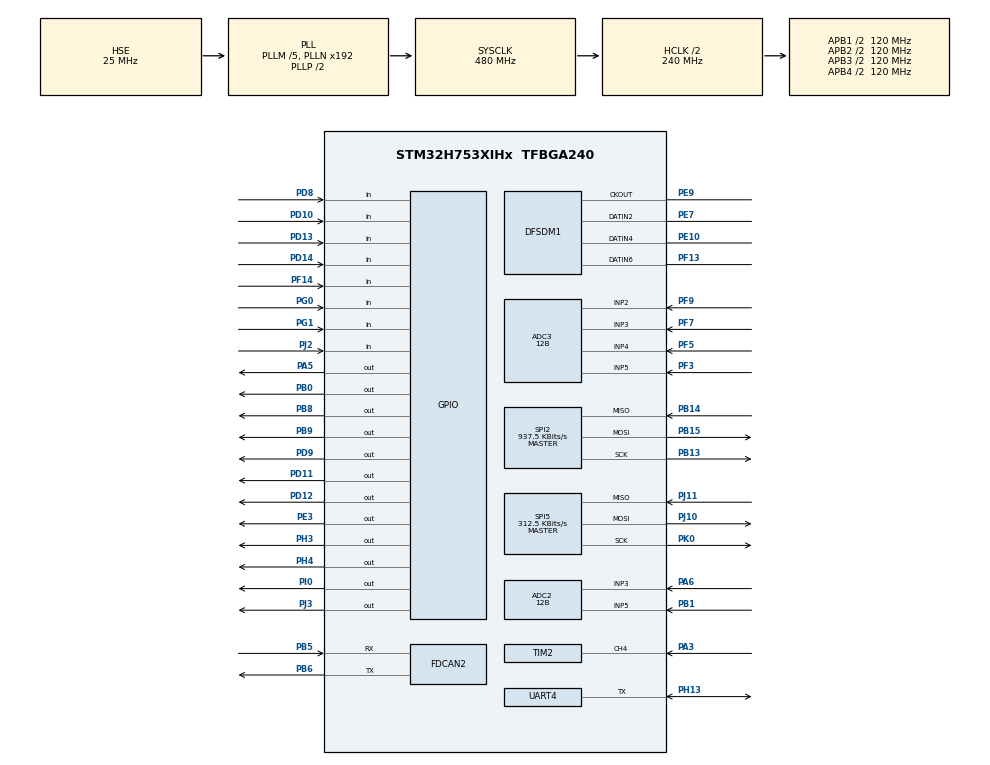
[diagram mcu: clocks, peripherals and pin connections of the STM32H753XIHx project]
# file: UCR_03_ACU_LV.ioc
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ADC2.Channel-0\#ChannelRegularConversion=ADC_CHANNEL_5
ADC2.Channel-1\#ChannelRegularConversion=ADC_CHANNEL_3
ADC2.ClockPrescaler=ADC_CLOCK_ASYNC_DIV256
ADC2.ContinuousConvMode=ENABLE
ADC2.ConversionDataManagement=ADC_CONVERSIONDATA_DMA_CIRCULAR
ADC2.NbrOfConversion=2
ADC2.NbrOfConversionFlag=1
ADC2.OffsetNumber-0\#ChannelRegularConversion=ADC_OFFSET_NONE
ADC2.OffsetNumber-1\#ChannelRegularConversion=ADC_OFFSET_NONE
ADC2.OffsetSignedSaturation-0\#ChannelRegularConversion=DISABLE
ADC2.OffsetSignedSaturation-1\#ChannelRegularConversion=DISABLE
ADC2.Overrun=ADC_OVR_DATA_OVERWRITTEN
ADC2.Rank-0\#ChannelRegularConversion=1
ADC2.Rank-1\#ChannelRegularConversion=2
ADC2.Resolution=ADC_RESOLUTION_12B
ADC2.SamplingTime-0\#ChannelRegularConversion=ADC_SAMPLETIME_16CYCLES_5
ADC2.SamplingTime-1\#ChannelRegularConversion=ADC_SAMPLETIME_16CYCLES_5
ADC3.Channel-0\#ChannelRegularConversion=ADC_CHANNEL_3
ADC3.Channel-1\#ChannelRegularConversion=ADC_CHANNEL_5
ADC3.Channel-2\#ChannelRegularConversion=ADC_CHANNEL_2
ADC3.Channel-3\#ChannelRegularConversion=ADC_CHANNEL_4
ADC3.ClockPrescaler=ADC_CLOCK_ASYNC_DIV256
ADC3.ContinuousConvMode=ENABLE
ADC3.ConversionDataManagement=ADC_CONVERSIONDATA_DMA_CIRCULAR
ADC3.NbrOfConversion=4
ADC3.NbrOfConversionFlag=1
ADC3.OffsetNumber-0\#ChannelRegularConversion=ADC_OFFSET_NONE
ADC3.OffsetNumber-1\#ChannelRegularConversion=ADC_OFFSET_NONE
ADC3.OffsetNumber-2\#ChannelRegularConversion=ADC_OFFSET_NONE
ADC3.OffsetNumber-3\#ChannelRegularConversion=ADC_OFFSET_NONE
ADC3.OffsetSignedSaturation-0\#ChannelRegularConversion=DISABLE
ADC3.OffsetSignedSaturation-1\#ChannelRegularConversion=DISABLE
ADC3.OffsetSignedSaturation-2\#ChannelRegularConversion=DISABLE
ADC3.OffsetSignedSaturation-3\#ChannelRegularConversion=DISABLE
ADC3.Overrun=ADC_OVR_DATA_OVERWRITTEN
ADC3.Rank-0\#ChannelRegularConversion=1
ADC3.Rank-1\#ChannelRegularConversion=2
ADC3.Rank-2\#ChannelRegularConversion=3
ADC3.Rank-3\#ChannelRegularConversion=4
ADC3.Resolution=ADC_RESOLUTION_12B
ADC3.SamplingTime-0\#ChannelRegularConversion=ADC_SAMPLETIME_810CYCLES_5
ADC3.SamplingTime-1\#ChannelRegularConversion=ADC_SAMPLETIME_810CYCLES_5
ADC3.SamplingTime-2\#ChannelRegularConversion=ADC_SAMPLETIME_810CYCLES_5
ADC3.SamplingTime-3\#ChannelRegularConversion=ADC_SAMPLETIME_810CYCLES_5
Bdma.ADC3.0.Direction=DMA_PERIPH_TO_MEMORY
Bdma.ADC3.0.EventEnable=DISABLE
Bdma.ADC3.0.Instance=BDMA_Channel0
Bdma.ADC3.0.MemDataAlignment=DMA_MDATAALIGN_HALFWORD
Bdma.ADC3.0.MemInc=DMA_MINC_ENABLE
Bdma.ADC3.0.Mode=DMA_CIRCULAR
Bdma.ADC3.0.PeriphDataAlignment=DMA_PDATAALIGN_HALFWORD
Bdma.ADC3.0.PeriphInc=DMA_PINC_DISABLE
Bdma.ADC3.0.Polarity=HAL_DMAMUX_REQ_GEN_RISING
Bdma.ADC3.0.Priority=DMA_PRIORITY_LOW
Bdma.ADC3.0.RequestNumber=1
Bdma.ADC3.0.SignalID=NONE
Bdma.ADC3.0.SyncEnable=DISABLE
Bdma.ADC3.0.SyncPolarity=HAL_DMAMUX_SYNC_NO_EVENT
Bdma.ADC3.0.SyncRequestNumber=1
Bdma.ADC3.0.SyncSignalID=NONE
Bdma.Request0=ADC3
Bdma.RequestsNb=1
CORTEX_M7.default_mode_Activation=1
DFSDM1.Divider=30
DFSDM1.DmaMode_reg_FIL0=ENABLE
DFSDM1.DmaMode_reg_FIL1=ENABLE
DFSDM1.DmaMode_reg_FIL2=ENABLE
DFSDM1.Filter_regChannel_FIL0=DFSDM_CHANNEL_2
DFSDM1.Filter_regChannel_FIL1=DFSDM_CHANNEL_4
DFSDM1.Filter_regChannel_FIL2=DFSDM_CHANNEL_6
DFSDM1.Fosr_FIL0=1024
DFSDM1.Fosr_FIL1=1024
DFSDM1.Fosr_FIL2=1024
DFSDM1.Selection=DFSDM_CHANNEL_OUTPUT_CLOCK_SYSTEM
Dma.ADC2.3.Direction=DMA_PERIPH_TO_MEMORY
Dma.ADC2.3.EventEnable=DISABLE
Dma.ADC2.3.FIFOMode=DMA_FIFOMODE_DISABLE
Dma.ADC2.3.Instance=DMA1_Stream3
Dma.ADC2.3.MemDataAlignment=DMA_MDATAALIGN_HALFWORD
Dma.ADC2.3.MemInc=DMA_MINC_ENABLE
Dma.ADC2.3.Mode=DMA_CIRCULAR
Dma.ADC2.3.PeriphDataAlignment=DMA_PDATAALIGN_HALFWORD
Dma.ADC2.3.PeriphInc=DMA_PINC_DISABLE
Dma.ADC2.3.Polarity=HAL_DMAMUX_REQ_GEN_RISING
Dma.ADC2.3.Priority=DMA_PRIORITY_LOW
Dma.ADC2.3.RequestNumber=1
Dma.ADC2.3.SignalID=NONE
Dma.ADC2.3.SyncEnable=DISABLE
Dma.ADC2.3.SyncPolarity=HAL_DMAMUX_SYNC_NO_EVENT
Dma.ADC2.3.SyncRequestNumber=1
Dma.ADC2.3.SyncSignalID=NONE
Dma.DFSDM1_FLT0.0.Direction=DMA_PERIPH_TO_MEMORY
Dma.DFSDM1_FLT0.0.EventEnable=DISABLE
Dma.DFSDM1_FLT0.0.FIFOMode=DMA_FIFOMODE_DISABLE
Dma.DFSDM1_FLT0.0.Instance=DMA1_Stream0
Dma.DFSDM1_FLT0.0.MemDataAlignment=DMA_MDATAALIGN_WORD
Dma.DFSDM1_FLT0.0.MemInc=DMA_MINC_ENABLE
Dma.DFSDM1_FLT0.0.Mode=DMA_CIRCULAR
Dma.DFSDM1_FLT0.0.PeriphDataAlignment=DMA_PDATAALIGN_WORD
Dma.DFSDM1_FLT0.0.PeriphInc=DMA_PINC_DISABLE
Dma.DFSDM1_FLT0.0.Polarity=HAL_DMAMUX_REQ_GEN_RISING
Dma.DFSDM1_FLT0.0.Priority=DMA_PRIORITY_LOW
Dma.DFSDM1_FLT0.0.RequestNumber=1
Dma.DFSDM1_FLT0.0.SignalID=NONE
Dma.DFSDM1_FLT0.0.SyncEnable=DISABLE
Dma.DFSDM1_FLT0.0.SyncPolarity=HAL_DMAMUX_SYNC_NO_EVENT
Dma.DFSDM1_FLT0.0.SyncRequestNumber=1
Dma.DFSDM1_FLT0.0.SyncSignalID=NONE
Dma.DFSDM1_FLT1.1.Direction=DMA_PERIPH_TO_MEMORY
Dma.DFSDM1_FLT1.1.EventEnable=DISABLE
Dma.DFSDM1_FLT1.1.FIFOMode=DMA_FIFOMODE_DISABLE
Dma.DFSDM1_FLT1.1.Instance=DMA1_Stream1
Dma.DFSDM1_FLT1.1.MemDataAlignment=DMA_MDATAALIGN_WORD
Dma.DFSDM1_FLT1.1.MemInc=DMA_MINC_ENABLE
Dma.DFSDM1_FLT1.1.Mode=DMA_CIRCULAR
Dma.DFSDM1_FLT1.1.PeriphDataAlignment=DMA_PDATAALIGN_WORD
Dma.DFSDM1_FLT1.1.PeriphInc=DMA_PINC_DISABLE
Dma.DFSDM1_FLT1.1.Polarity=HAL_DMAMUX_REQ_GEN_RISING
Dma.DFSDM1_FLT1.1.Priority=DMA_PRIORITY_LOW
Dma.DFSDM1_FLT1.1.RequestNumber=1
Dma.DFSDM1_FLT1.1.SignalID=NONE
Dma.DFSDM1_FLT1.1.SyncEnable=DISABLE
Dma.DFSDM1_FLT1.1.SyncPolarity=HAL_DMAMUX_SYNC_NO_EVENT
Dma.DFSDM1_FLT1.1.SyncRequestNumber=1
Dma.DFSDM1_FLT1.1.SyncSignalID=NONE
Dma.DFSDM1_FLT2.2.Direction=DMA_PERIPH_TO_MEMORY
Dma.DFSDM1_FLT2.2.EventEnable=DISABLE
Dma.DFSDM1_FLT2.2.FIFOMode=DMA_FIFOMODE_DISABLE
Dma.DFSDM1_FLT2.2.Instance=DMA1_Stream2
Dma.DFSDM1_FLT2.2.MemDataAlignment=DMA_MDATAALIGN_WORD
Dma.DFSDM1_FLT2.2.MemInc=DMA_MINC_ENABLE
Dma.DFSDM1_FLT2.2.Mode=DMA_CIRCULAR
Dma.DFSDM1_FLT2.2.PeriphDataAlignment=DMA_PDATAALIGN_WORD
Dma.DFSDM1_FLT2.2.PeriphInc=DMA_PINC_DISABLE
Dma.DFSDM1_FLT2.2.Polarity=HAL_DMAMUX_REQ_GEN_RISING
Dma.DFSDM1_FLT2.2.Priority=DMA_PRIORITY_LOW
Dma.DFSDM1_FLT2.2.RequestNumber=1
Dma.DFSDM1_FLT2.2.SignalID=NONE
Dma.DFSDM1_FLT2.2.SyncEnable=DISABLE
Dma.DFSDM1_FLT2.2.SyncPolarity=HAL_DMAMUX_SYNC_NO_EVENT
Dma.DFSDM1_FLT2.2.SyncRequestNumber=1
Dma.DFSDM1_FLT2.2.SyncSignalID=NONE
Dma.Request0=DFSDM1_FLT0
Dma.Request1=DFSDM1_FLT1
Dma.Request2=DFSDM1_FLT2
Dma.Request3=ADC2
FDCAN2.CalculateBaudRateNominal=499999
FDCAN2.CalculateTimeBitNominal=2000
FDCAN2.CalculateTimeQuantumNominal=250.00000000000003
FDCAN2.DataPrescaler=15
FDCAN2.DataSyncJumpWidth=1
FDCAN2.DataTimeSeg1=2
FDCAN2.DataTimeSeg2=1
FDCAN2.FrameFormat=FDCAN_FRAME_FD_BRS
FDCAN2.MessageRAMOffset=0
FDCAN2.Mode=FDCAN_MODE_NORMAL
FDCAN2.NominalPrescaler=30
FDCAN2.NominalSyncJumpWidth=2
FDCAN2.NominalTimeSeg1=5
FDCAN2.NominalTimeSeg2=2
FDCAN2.RxBufferSize=FDCAN_DATA_BYTES_64
FDCAN2.RxFifo0ElmtSize=FDCAN_DATA_BYTES_64
FDCAN2.RxFifo0ElmtsNbr=16
FDCAN2.RxFifo1ElmtSize=FDCAN_DATA_BYTES_64
FDCAN2.RxFifo1ElmtsNbr=16
FDCAN2.StdFiltersNbr=1
FDCAN2.TxElmtSize=FDCAN_DATA_BYTES_64
FDCAN2.TxFifoQueueElmtsNbr=16
FREERTOS.Tasks01=TaskManager,24,512,startTaskManager,Default,NULL,Dynamic,NULL,NULL;FastTask,24,512,StartFastTask,Default,NULL,Dynamic,NULL,NULL;MediumTask,24,512,StartMediumTask,Default,NULL,Dynamic,NULL,NULL;SlowTask,24,512,StartSlowTask,Default,NULL,Dynamic,NULL,NULL;CanTx,16,512,StartCanTask,Default,NULL,Dynamic,NULL,NULL;CanRx,17,512,StartCanRx,Default,NULL,Dynamic,NULL,NULL
FREERTOS.configTOTAL_HEAP_SIZE=256000
FREERTOS.configUSE_NEWLIB_REENTRANT=1
Mcu.Family=STM32H7
Mcu.Name=STM32H753XIHx
Mcu.Package=TFBGA240
NVIC.BDMA_Channel0_IRQn=true\:5\:0\:false\:false\:true\:true\:false\:true\:true
NVIC.DMA1_Stream0_IRQn=true\:5\:0\:false\:false\:true\:true\:false\:true\:true
NVIC.DMA1_Stream1_IRQn=true\:5\:0\:false\:false\:true\:true\:false\:true\:true
NVIC.DMA1_Stream2_IRQn=true\:5\:0\:false\:false\:true\:true\:false\:true\:true
NVIC.DMA1_Stream3_IRQn=true\:5\:0\:false\:false\:true\:true\:false\:true\:true
NVIC.FDCAN2_IT0_IRQn=true\:5\:0\:false\:false\:true\:true\:true\:true\:true
NVIC.FDCAN2_IT1_IRQn=true\:5\:0\:false\:false\:true\:true\:true\:true\:true
NVIC.PriorityGroup=NVIC_PRIORITYGROUP_4
NVIC.TIM1_UP_IRQn=true\:15\:0\:false\:false\:true\:false\:false\:true\:true
NVIC.TIM3_IRQn=true\:5\:0\:false\:false\:true\:true\:true\:true\:true
NVIC.TimeBase=TIM1_UP_IRQn
NVIC.TimeBaseIP=TIM1
PA13\ (JTMS/SWDIO).Mode=Serial_Wire
PA13\ (JTMS/SWDIO).Signal=DEBUG_JTMS-SWDIO
PA14\ (JTCK/SWCLK).Mode=Serial_Wire
PA14\ (JTCK/SWCLK).Signal=DEBUG_JTCK-SWCLK
PA3.Signal=S_TIM2_CH4
PA5.Signal=GPIO_Output
PA6.Signal=ADCx_INP3
PB0.Signal=GPIO_Output
PB1.Signal=ADCx_INP5
PB13.Mode=Full_Duplex_Master
PB13.Signal=SPI2_SCK
PB14.Mode=Full_Duplex_Master
PB14.Signal=SPI2_MISO
PB15.Mode=Full_Duplex_Master
PB15.Signal=SPI2_MOSI
PB5.Mode=FDCAN_Activate
PB5.Signal=FDCAN2_RX
PB6.Mode=FDCAN_Activate
PB6.Signal=FDCAN2_TX
PB8.Signal=GPIO_Output
PB9.Signal=GPIO_Output
PC14-OSC32_IN\ (OSC32_IN).Mode=LSE-External-Oscillator
PC14-OSC32_IN\ (OSC32_IN).Signal=RCC_OSC32_IN
PC15-OSC32_OUT\ (OSC32_OUT).Mode=LSE-External-Oscillator
PC15-OSC32_OUT\ (OSC32_OUT).Signal=RCC_OSC32_OUT
PD10.Signal=GPIO_Input
PD11.Signal=GPIO_Output
PD12.Signal=GPIO_Output
PD13.Signal=GPIO_Input
PD14.Signal=GPIO_Input
PD8.Signal=GPIO_Input
PD9.Signal=GPIO_Output
PE10.Signal=S_DATAIN4DFSDM1
PE3.Signal=GPIO_Output
PE7.Signal=S_DATAIN2DFSDM1
PE9.Signal=S_CKOUTDFSDM1
PF13.Signal=S_DATAIN6DFSDM1
PF14.Signal=GPIO_Input
PF3.Mode=IN5-Single-Ended
PF3.Signal=ADC3_INP5
PF5.Mode=IN4-Single-Ended
PF5.Signal=ADC3_INP4
PF7.Mode=IN3-Single-Ended
PF7.Signal=ADC3_INP3
PF9.Mode=IN2-Single-Ended
PF9.Signal=ADC3_INP2
PG0.Signal=GPIO_Input
PG1.Signal=GPIO_Input
PH0-OSC_IN\ (PH0).Mode=HSE-External-Oscillator
PH0-OSC_IN\ (PH0).Signal=RCC_OSC_IN
PH1-OSC_OUT\ (PH1).Mode=HSE-External-Oscillator
PH1-OSC_OUT\ (PH1).Signal=RCC_OSC_OUT
PH13.Mode=Half_duplex(single_wire_mode)
PH13.Signal=UART4_TX
PH3.Signal=GPIO_Output
PH4.Signal=GPIO_Output
PI0.GPIO_ModeDefaultOutputPP=GPIO_MODE_OUTPUT_OD
PI0.GPIO_PuPd=GPIO_NOPULL
PI0.PinState=GPIO_PIN_SET
PI0.Signal=GPIO_Output
PJ10.Mode=Full_Duplex_Master
PJ10.Signal=SPI5_MOSI
PJ11.Mode=Full_Duplex_Master
PJ11.Signal=SPI5_MISO
PJ2.Signal=GPIO_Input
PJ3.Signal=GPIO_Output
PK0.Mode=Full_Duplex_Master
PK0.Signal=SPI5_SCK
ProjectManager.HeapSize=0x200
ProjectManager.StackSize=0x400
ProjectManager.TargetToolchain=STM32CubeIDE
RCC.ADCFreq_Value=80000000
RCC.APB1Freq_Value=120000000
RCC.APB2Freq_Value=120000000
RCC.APB3Freq_Value=120000000
RCC.APB4Freq_Value=120000000
RCC.CortexFreq_Value=480000000
RCC.D1PPRE=RCC_APB3_DIV2
RCC.D2PPRE1=RCC_APB1_DIV2
RCC.D2PPRE2=RCC_APB2_DIV2
RCC.D3PPRE=RCC_APB4_DIV2
RCC.DIVM1=5
RCC.DIVM2=5
RCC.DIVM3=59
RCC.DIVN1=192
RCC.DIVN2=32
RCC.DIVQ1=8
RCC.HCLKFreq_Value=240000000
RCC.HPRE=RCC_HCLK_DIV2
RCC.PLLSourceVirtual=RCC_PLLSOURCE_HSE
RCC.SYSCLKFreq_VALUE=480000000
RCC.SYSCLKSource=RCC_SYSCLKSOURCE_PLLCLK
RCC.Spi45ClockSelection=RCC_SPI45CLKSOURCE_PLL2
RCC.USBFreq_Value=120000000
SH.ADCx_INP3.0=ADC1_INP3
SH.ADCx_INP3.1=ADC2_INP3,IN3-Single-Ended
SH.ADCx_INP5.0=ADC1_INP5
SH.ADCx_INP5.1=ADC2_INP5,IN5-Single-Ended
SH.S_CKOUTDFSDM1.0=DFSDM1_CKOUT,CKOUT
SH.S_CKOUTDFSDM1.1=DFSDM1_CKOUT,PDM_SPI_input_from_ch2_and_internal_clock
SH.S_CKOUTDFSDM1.2=DFSDM1_CKOUT,PDM_SPI_input_from_ch4_and_internal_clock
SH.S_CKOUTDFSDM1.3=DFSDM1_CKOUT,PDM_SPI_input_from_ch6_and_internal_clock
SH.S_DATAIN2DFSDM1.0=DFSDM1_DATIN2,PDM_SPI_input_from_ch2_and_internal_clock
SH.S_DATAIN4DFSDM1.0=DFSDM1_DATIN4,PDM_SPI_input_from_ch4_and_internal_clock
SH.S_DATAIN6DFSDM1.0=DFSDM1_DATIN6,PDM_SPI_input_from_ch6_and_internal_clock
SH.S_TIM2_CH4.0=TIM2_CH4,Input_Capture4_from_TI4
SPI2.BaudRatePrescaler=SPI_BAUDRATEPRESCALER_128
SPI2.CalculateBaudRate=937.5 KBits/s
SPI2.DataSize=SPI_DATASIZE_8BIT
SPI2.Direction=SPI_DIRECTION_2LINES
SPI2.Mode=SPI_MODE_MASTER
SPI2.VirtualType=VM_MASTER
SPI5.BaudRatePrescaler=SPI_BAUDRATEPRESCALER_256
SPI5.CalculateBaudRate=312.5 KBits/s
SPI5.DataSize=SPI_DATASIZE_8BIT
SPI5.Direction=SPI_DIRECTION_2LINES
SPI5.Mode=SPI_MODE_MASTER
SPI5.VirtualType=VM_MASTER
TIM2.Channel-Input_Capture4_from_TI4=TIM_CHANNEL_4
TIM3.ClockDivision=TIM_CLOCKDIVISION_DIV4
TIM3.Prescaler=65535
VP_FREERTOS_VS_CMSIS_V2.Mode=CMSIS_V2
VP_MEMORYMAP_VS_MEMORYMAP.Mode=CurAppReg
VP_SYS_VS_tim1.Mode=TIM1
VP_TIM3_VS_ClockSourceINT.Mode=Internal
VREF+.Mode=InternalMode
VREF+.Signal=VREFBUF_OUT
board=custom

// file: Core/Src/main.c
/* USER CODE BEGIN Header */
/**
  ******************************************************************************
  * @file           : main.c
  * @brief          : Main program body
  ******************************************************************************
  * @attention
  *
  * Copyright (c) 2026 STMicroelectronics.
  * All rights reserved.
  *
  * This software is licensed under terms that can be found in the LICENSE file
  * in the root directory of this software component.
  * If no LICENSE file comes with this software, it is provided AS-IS.
  *
  ******************************************************************************
  */
/* USER CODE END Header */
#include "main.h"
#include "cmsis_os.h"

/* USER CODE BEGIN Includes */

#include "task_fast.h"
#include "task_medium.h"
#include "task_slow.h"
#include "task_manager.h"

#include "task_can_rx.h"
#include "task_can_tx.h"

#include "can_typ_common.h"
#include "can_config.h"

/* USER CODE END Includes */

ADC_HandleTypeDef hadc2;
ADC_HandleTypeDef hadc3;
DMA_HandleTypeDef hdma_adc2;
DMA_HandleTypeDef hdma_adc3;

DFSDM_Filter_HandleTypeDef hdfsdm1_filter0;
DFSDM_Filter_HandleTypeDef hdfsdm1_filter1;
DFSDM_Filter_HandleTypeDef hdfsdm1_filter2;
DFSDM_Channel_HandleTypeDef hdfsdm1_channel2;
DFSDM_Channel_HandleTypeDef hdfsdm1_channel4;
DFSDM_Channel_HandleTypeDef hdfsdm1_channel6;
DMA_HandleTypeDef hdma_dfsdm1_flt0;
DMA_HandleTypeDef hdma_dfsdm1_flt1;
DMA_HandleTypeDef hdma_dfsdm1_flt2;

FDCAN_HandleTypeDef hfdcan2;

SPI_HandleTypeDef hspi2;
SPI_HandleTypeDef hspi5;

TIM_HandleTypeDef htim2;
TIM_HandleTypeDef htim3;

UART_HandleTypeDef huart4;

/* Definitions for TaskManager */
osThreadId_t TaskManagerHandle;
const osThreadAttr_t TaskManager_attributes = {
  .name = "TaskManager",
  .stack_size = 512 * 4,
  .priority = (osPriority_t) osPriorityNormal,
};
/* Definitions for FastTask */
osThreadId_t FastTaskHandle;
const osThreadAttr_t FastTask_attributes = {
  .name = "FastTask",
  .stack_size = 512 * 4,
  .priority = (osPriority_t) osPriorityNormal,
};
/* Definitions for MediumTask */
osThreadId_t MediumTaskHandle;
const osThreadAttr_t MediumTask_attributes = {
  .name = "MediumTask",
  .stack_size = 512 * 4,
  .priority = (osPriority_t) osPriorityNormal,
};
/* Definitions for SlowTask */
osThreadId_t SlowTaskHandle;
const osThreadAttr_t SlowTask_attributes = {
  .name = "SlowTask",
  .stack_size = 512 * 4,
  .priority = (osPriority_t) osPriorityNormal,
};
/* Definitions for CanTx */
osThreadId_t CanTxHandle;
const osThreadAttr_t CanTx_attributes = {
  .name = "CanTx",
  .stack_size = 512 * 4,
  .priority = (osPriority_t) osPriorityBelowNormal,
};
/* Definitions for CanRx */
osThreadId_t CanRxHandle;
const osThreadAttr_t CanRx_attributes = {
  .name = "CanRx",
  .stack_size = 512 * 4,
  .priority = (osPriority_t) osPriorityBelowNormal1,
};
/* USER CODE BEGIN PV */

osMessageQueueId_t Can1TxQueueHandle;
const osMessageQueueAttr_t Can1TxQueue_attributes = {
  .name = "Can1TxQueue"
};

osMessageQueueId_t Can1RxQueueHandle;
const osMessageQueueAttr_t Can1RxQueue_attributes = {
  .name = "Can1RxQueue"
};

osMessageQueueId_t Can2TxQueueHandle;
const osMessageQueueAttr_t Can2TxQueue_attributes = {
  .name = "Can2TxQueue"
};

osMessageQueueId_t Can2RxQueueHandle;
const osMessageQueueAttr_t Can2RxQueue_attributes = {
  .name = "Can2RxQueue"
};
/* USER CODE END PV */

void SystemClock_Config(void);
void PeriphCommonClock_Config(void);
static void MPU_Config(void);
static void MX_GPIO_Init(void);
static void MX_DMA_Init(void);
static void MX_BDMA_Init(void);
static void MX_ADC2_Init(void);
static void MX_ADC3_Init(void);
static void MX_DFSDM1_Init(void);
static void MX_FDCAN2_Init(void);
static void MX_SPI2_Init(void);
static void MX_SPI5_Init(void);
static void MX_UART4_Init(void);
static void MX_TIM2_Init(void);
static void MX_TIM3_Init(void);
void startTaskManager(void *argument);
void StartFastTask(void *argument);
void StartMediumTask(void *argument);
void StartSlowTask(void *argument);
void StartCanTask(void *argument);
void StartCanRx(void *argument);

int main(void)
{

  /* MPU Configuration--------------------------------------------------------*/
  MPU_Config();

  /* MCU Configuration--------------------------------------------------------*/

  /* Reset of all peripherals, Initializes the Flash interface and the Systick. */
  HAL_Init();

  /* Configure the system clock */
  SystemClock_Config();

  /* Configure the peripherals common clocks */
  PeriphCommonClock_Config();

  /* Initialize all configured peripherals */
  MX_GPIO_Init();
  MX_DMA_Init();
  MX_BDMA_Init();
  MX_ADC2_Init();
  MX_ADC3_Init();
  MX_DFSDM1_Init();
  MX_FDCAN2_Init();
  MX_SPI2_Init();
  MX_SPI5_Init();
  MX_UART4_Init();
  MX_TIM2_Init();
  MX_TIM3_Init();
  /* USER CODE BEGIN 2 */

  HAL_GPIO_WritePin(GPIOB, GPIO_PIN_9, GPIO_PIN_SET);

//  HAL_FDCAN_Start(&hfdcan2);
//  HAL_FDCAN_ActivateNotification(&hfdcan2, FDCAN_IT_RX_FIFO0_NEW_MESSAGE, 0);
//
//  uint8_t test[64] = {0};
//  test[0] = 0xFF;
//
//
//  FDCAN_TxHeaderTypeDef tx_header;
//
//  tx_header.Identifier = 300;
//  tx_header.IdType = FDCAN_STANDARD_ID;
//  tx_header.TxFrameType = FDCAN_DATA_FRAME;
//  tx_header.DataLength = FDCAN_DLC_BYTES_1;
//  tx_header.ErrorStateIndicator = FDCAN_ESI_ACTIVE;
//  tx_header.BitRateSwitch = FDCAN_BRS_ON;
//  tx_header.FDFormat =  FDCAN_FD_CAN;
//  tx_header.TxEventFifoControl = FDCAN_NO_TX_EVENTS;
//  tx_header.MessageMarker = 0;
//
//  while(1)
//  {
//	  HAL_FDCAN_AddMessageToTxFifoQ(&hfdcan2, &tx_header, (uint8_t *)test);
//	  HAL_Delay(100);
//  }

//  aculv_svc_set_bms_ok(true);
//  while (1)
//  {
//	  acuhv_svc_air_close_air_neg(false);
//	  acuhv_svc_air_close_air_pos(false);
//
//	  HAL_Delay(5000);
//
//	  acuhv_svc_air_close_air_neg(true);
//	  acuhv_svc_air_close_air_pos(true);
//	  HAL_Delay(5000);
//  }

  /* USER CODE END 2 */

  /* Init scheduler */
  osKernelInitialize();

  /* USER CODE BEGIN RTOS_QUEUES */
  Can1TxQueueHandle = osMessageQueueNew (CAN1_TX_QUEUE_DEPTH, sizeof(can_msg_t), &Can1TxQueue_attributes);
  Can1RxQueueHandle = osMessageQueueNew (16, sizeof(can_msg_t), &Can1RxQueue_attributes);

  Can2TxQueueHandle = osMessageQueueNew (16, sizeof(can_msg_t), &Can2TxQueue_attributes);
  Can2RxQueueHandle = osMessageQueueNew (16, sizeof(can_msg_t), &Can2RxQueue_attributes);
  /* USER CODE END RTOS_QUEUES */

  /* Create the thread(s) */
  /* creation of TaskManager */
  TaskManagerHandle = osThreadNew(startTaskManager, NULL, &TaskManager_attributes);

  /* creation of FastTask */
  FastTaskHandle = osThreadNew(StartFastTask, NULL, &FastTask_attributes);

  /* creation of MediumTask */
  MediumTaskHandle = osThreadNew(StartMediumTask, NULL, &MediumTask_attributes);

  /* creation of SlowTask */
  SlowTaskHandle = osThreadNew(StartSlowTask, NULL, &SlowTask_attributes);

  /* creation of CanTx */
  CanTxHandle = osThreadNew(StartCanTask, NULL, &CanTx_attributes);

  /* creation of CanRx */
  CanRxHandle = osThreadNew(StartCanRx, NULL, &CanRx_attributes);

  /* Start scheduler */
  osKernelStart();

  /* We should never get here as control is now taken by the scheduler */

  /* Infinite loop */
  while (1)
  {

  }
}

void SystemClock_Config(void)
{
  RCC_OscInitTypeDef RCC_OscInitStruct = {0};
  RCC_ClkInitTypeDef RCC_ClkInitStruct = {0};

  /** Supply configuration update enable
  */
  HAL_PWREx_ConfigSupply(PWR_LDO_SUPPLY);

  /** Configure the main internal regulator output voltage
  */
  __HAL_PWR_VOLTAGESCALING_CONFIG(PWR_REGULATOR_VOLTAGE_SCALE0);

  while(!__HAL_PWR_GET_FLAG(PWR_FLAG_VOSRDY)) {}

  /** Initializes the RCC Oscillators according to the specified parameters
  * in the RCC_OscInitTypeDef structure.
  */
  RCC_OscInitStruct.OscillatorType = RCC_OSCILLATORTYPE_HSE;
  RCC_OscInitStruct.HSEState = RCC_HSE_ON;
  RCC_OscInitStruct.PLL.PLLState = RCC_PLL_ON;
  RCC_OscInitStruct.PLL.PLLSource = RCC_PLLSOURCE_HSE;
  RCC_OscInitStruct.PLL.PLLM = 5;
  RCC_OscInitStruct.PLL.PLLN = 192;
  RCC_OscInitStruct.PLL.PLLP = 2;
  RCC_OscInitStruct.PLL.PLLQ = 8;
  RCC_OscInitStruct.PLL.PLLR = 2;
  RCC_OscInitStruct.PLL.PLLRGE = RCC_PLL1VCIRANGE_2;
  RCC_OscInitStruct.PLL.PLLVCOSEL = RCC_PLL1VCOWIDE;
  RCC_OscInitStruct.PLL.PLLFRACN = 0;
  if (HAL_RCC_OscConfig(&RCC_OscInitStruct) != HAL_OK)
  {
    Error_Handler();
  }

  /** Initializes the CPU, AHB and APB buses clocks
  */
  RCC_ClkInitStruct.ClockType = RCC_CLOCKTYPE_HCLK|RCC_CLOCKTYPE_SYSCLK
                              |RCC_CLOCKTYPE_PCLK1|RCC_CLOCKTYPE_PCLK2
                              |RCC_CLOCKTYPE_D3PCLK1|RCC_CLOCKTYPE_D1PCLK1;
  RCC_ClkInitStruct.SYSCLKSource = RCC_SYSCLKSOURCE_PLLCLK;
  RCC_ClkInitStruct.SYSCLKDivider = RCC_SYSCLK_DIV1;
  RCC_ClkInitStruct.AHBCLKDivider = RCC_HCLK_DIV2;
  RCC_ClkInitStruct.APB3CLKDivider = RCC_APB3_DIV2;
  RCC_ClkInitStruct.APB1CLKDivider = RCC_APB1_DIV2;
  RCC_ClkInitStruct.APB2CLKDivider = RCC_APB2_DIV2;
  RCC_ClkInitStruct.APB4CLKDivider = RCC_APB4_DIV2;

  if (HAL_RCC_ClockConfig(&RCC_ClkInitStruct, FLASH_LATENCY_4) != HAL_OK)
  {
    Error_Handler();
  }
}

void PeriphCommonClock_Config(void)
{
  RCC_PeriphCLKInitTypeDef PeriphClkInitStruct = {0};

  /** Initializes the peripherals clock
  */
  PeriphClkInitStruct.PeriphClockSelection = RCC_PERIPHCLK_ADC|RCC_PERIPHCLK_SPI5;
  PeriphClkInitStruct.PLL2.PLL2M = 5;
  PeriphClkInitStruct.PLL2.PLL2N = 32;
  PeriphClkInitStruct.PLL2.PLL2P = 2;
  PeriphClkInitStruct.PLL2.PLL2Q = 2;
  PeriphClkInitStruct.PLL2.PLL2R = 2;
  PeriphClkInitStruct.PLL2.PLL2RGE = RCC_PLL2VCIRANGE_2;
  PeriphClkInitStruct.PLL2.PLL2VCOSEL = RCC_PLL2VCOMEDIUM;
  PeriphClkInitStruct.PLL2.PLL2FRACN = 0;
  PeriphClkInitStruct.Spi45ClockSelection = RCC_SPI45CLKSOURCE_PLL2;
  PeriphClkInitStruct.AdcClockSelection = RCC_ADCCLKSOURCE_PLL2;
  if (HAL_RCCEx_PeriphCLKConfig(&PeriphClkInitStruct) != HAL_OK)
  {
    Error_Handler();
  }
}

static void MX_ADC2_Init(void)
{

  ADC_ChannelConfTypeDef sConfig = {0};

  /** Common config
  */
  hadc2.Instance = ADC2;
  hadc2.Init.ClockPrescaler = ADC_CLOCK_ASYNC_DIV256;
  hadc2.Init.Resolution = ADC_RESOLUTION_12B;
  hadc2.Init.ScanConvMode = ADC_SCAN_ENABLE;
  hadc2.Init.EOCSelection = ADC_EOC_SINGLE_CONV;
  hadc2.Init.LowPowerAutoWait = DISABLE;
  hadc2.Init.ContinuousConvMode = ENABLE;
  hadc2.Init.NbrOfConversion = 2;
  hadc2.Init.DiscontinuousConvMode = DISABLE;
  hadc2.Init.ExternalTrigConv = ADC_SOFTWARE_START;
  hadc2.Init.ExternalTrigConvEdge = ADC_EXTERNALTRIGCONVEDGE_NONE;
  hadc2.Init.ConversionDataManagement = ADC_CONVERSIONDATA_DMA_CIRCULAR;
  hadc2.Init.Overrun = ADC_OVR_DATA_OVERWRITTEN;
  hadc2.Init.LeftBitShift = ADC_LEFTBITSHIFT_NONE;
  hadc2.Init.OversamplingMode = DISABLE;
  hadc2.Init.Oversampling.Ratio = 1;
  if (HAL_ADC_Init(&hadc2) != HAL_OK)
  {
    Error_Handler();
  }

  /** Configure Regular Channel
  */
  sConfig.Channel = ADC_CHANNEL_5;
  sConfig.Rank = ADC_REGULAR_RANK_1;
  sConfig.SamplingTime = ADC_SAMPLETIME_16CYCLES_5;
  sConfig.SingleDiff = ADC_SINGLE_ENDED;
  sConfig.OffsetNumber = ADC_OFFSET_NONE;
  sConfig.Offset = 0;
  sConfig.OffsetSignedSaturation = DISABLE;
  if (HAL_ADC_ConfigChannel(&hadc2, &sConfig) != HAL_OK)
  {
    Error_Handler();
  }

  /** Configure Regular Channel
  */
  sConfig.Channel = ADC_CHANNEL_3;
  sConfig.Rank = ADC_REGULAR_RANK_2;
  if (HAL_ADC_ConfigChannel(&hadc2, &sConfig) != HAL_OK)
  {
    Error_Handler();
  }

}

static void MX_ADC3_Init(void)
{

  ADC_ChannelConfTypeDef sConfig = {0};

  /** Common config
  */
  hadc3.Instance = ADC3;
  hadc3.Init.ClockPrescaler = ADC_CLOCK_ASYNC_DIV256;
  hadc3.Init.Resolution = ADC_RESOLUTION_12B;
  hadc3.Init.ScanConvMode = ADC_SCAN_ENABLE;
  hadc3.Init.EOCSelection = ADC_EOC_SINGLE_CONV;
  hadc3.Init.LowPowerAutoWait = DISABLE;
  hadc3.Init.ContinuousConvMode = ENABLE;
  hadc3.Init.NbrOfConversion = 4;
  hadc3.Init.DiscontinuousConvMode = DISABLE;
  hadc3.Init.ExternalTrigConv = ADC_SOFTWARE_START;
  hadc3.Init.ExternalTrigConvEdge = ADC_EXTERNALTRIGCONVEDGE_NONE;
  hadc3.Init.ConversionDataManagement = ADC_CONVERSIONDATA_DMA_CIRCULAR;
  hadc3.Init.Overrun = ADC_OVR_DATA_OVERWRITTEN;
  hadc3.Init.LeftBitShift = ADC_LEFTBITSHIFT_NONE;
  hadc3.Init.OversamplingMode = DISABLE;
  hadc3.Init.Oversampling.Ratio = 1;
  if (HAL_ADC_Init(&hadc3) != HAL_OK)
  {
    Error_Handler();
  }

  /** Configure Regular Channel
  */
  sConfig.Channel = ADC_CHANNEL_3;
  sConfig.Rank = ADC_REGULAR_RANK_1;
  sConfig.SamplingTime = ADC_SAMPLETIME_810CYCLES_5;
  sConfig.SingleDiff = ADC_SINGLE_ENDED;
  sConfig.OffsetNumber = ADC_OFFSET_NONE;
  sConfig.Offset = 0;
  sConfig.OffsetSignedSaturation = DISABLE;
  if (HAL_ADC_ConfigChannel(&hadc3, &sConfig) != HAL_OK)
  {
    Error_Handler();
  }

  /** Configure Regular Channel
  */
  sConfig.Channel = ADC_CHANNEL_5;
  sConfig.Rank = ADC_REGULAR_RANK_2;
  if (HAL_ADC_ConfigChannel(&hadc3, &sConfig) != HAL_OK)
  {
    Error_Handler();
  }

  /** Configure Regular Channel
  */
  sConfig.Channel = ADC_CHANNEL_2;
  sConfig.Rank = ADC_REGULAR_RANK_3;
  if (HAL_ADC_ConfigChannel(&hadc3, &sConfig) != HAL_OK)
  {
    Error_Handler();
  }

  /** Configure Regular Channel
  */
  sConfig.Channel = ADC_CHANNEL_4;
  sConfig.Rank = ADC_REGULAR_RANK_4;
  if (HAL_ADC_ConfigChannel(&hadc3, &sConfig) != HAL_OK)
  {
    Error_Handler();
  }

}

static void MX_DFSDM1_Init(void)
{

  hdfsdm1_filter0.Instance = DFSDM1_Filter0;
  hdfsdm1_filter0.Init.RegularParam.Trigger = DFSDM_FILTER_SW_TRIGGER;
  hdfsdm1_filter0.Init.RegularParam.FastMode = DISABLE;
  hdfsdm1_filter0.Init.RegularParam.DmaMode = ENABLE;
  hdfsdm1_filter0.Init.FilterParam.SincOrder = DFSDM_FILTER_FASTSINC_ORDER;
  hdfsdm1_filter0.Init.FilterParam.Oversampling = 1024;
  hdfsdm1_filter0.Init.FilterParam.IntOversampling = 1;
  if (HAL_DFSDM_FilterInit(&hdfsdm1_filter0) != HAL_OK)
  {
    Error_Handler();
  }
  hdfsdm1_filter1.Instance = DFSDM1_Filter1;
  hdfsdm1_filter1.Init.RegularParam.Trigger = DFSDM_FILTER_SW_TRIGGER;
  hdfsdm1_filter1.Init.RegularParam.FastMode = DISABLE;
  hdfsdm1_filter1.Init.RegularParam.DmaMode = ENABLE;
  hdfsdm1_filter1.Init.FilterParam.SincOrder = DFSDM_FILTER_FASTSINC_ORDER;
  hdfsdm1_filter1.Init.FilterParam.Oversampling = 1024;
  hdfsdm1_filter1.Init.FilterParam.IntOversampling = 1;
  if (HAL_DFSDM_FilterInit(&hdfsdm1_filter1) != HAL_OK)
  {
    Error_Handler();
  }
  hdfsdm1_filter2.Instance = DFSDM1_Filter2;
  hdfsdm1_filter2.Init.RegularParam.Trigger = DFSDM_FILTER_SW_TRIGGER;
  hdfsdm1_filter2.Init.RegularParam.FastMode = DISABLE;
  hdfsdm1_filter2.Init.RegularParam.DmaMode = ENABLE;
  hdfsdm1_filter2.Init.FilterParam.SincOrder = DFSDM_FILTER_FASTSINC_ORDER;
  hdfsdm1_filter2.Init.FilterParam.Oversampling = 1024;
  hdfsdm1_filter2.Init.FilterParam.IntOversampling = 1;
  if (HAL_DFSDM_FilterInit(&hdfsdm1_filter2) != HAL_OK)
  {
    Error_Handler();
  }
  hdfsdm1_channel2.Instance = DFSDM1_Channel2;
  hdfsdm1_channel2.Init.OutputClock.Activation = ENABLE;
  hdfsdm1_channel2.Init.OutputClock.Selection = DFSDM_CHANNEL_OUTPUT_CLOCK_SYSTEM;
  hdfsdm1_channel2.Init.OutputClock.Divider = 30;
  hdfsdm1_channel2.Init.Input.Multiplexer = DFSDM_CHANNEL_EXTERNAL_INPUTS;
  hdfsdm1_channel2.Init.Input.DataPacking = DFSDM_CHANNEL_STANDARD_MODE;
  hdfsdm1_channel2.Init.Input.Pins = DFSDM_CHANNEL_SAME_CHANNEL_PINS;
  hdfsdm1_channel2.Init.SerialInterface.Type = DFSDM_CHANNEL_SPI_RISING;
  hdfsdm1_channel2.Init.SerialInterface.SpiClock = DFSDM_CHANNEL_SPI_CLOCK_INTERNAL;
  hdfsdm1_channel2.Init.Awd.FilterOrder = DFSDM_CHANNEL_FASTSINC_ORDER;
  hdfsdm1_channel2.Init.Awd.Oversampling = 1;
  hdfsdm1_channel2.Init.Offset = 0;
  hdfsdm1_channel2.Init.RightBitShift = 0x00;
  if (HAL_DFSDM_ChannelInit(&hdfsdm1_channel2) != HAL_OK)
  {
    Error_Handler();
  }
  hdfsdm1_channel4.Instance = DFSDM1_Channel4;
  hdfsdm1_channel4.Init.OutputClock.Activation = ENABLE;
  hdfsdm1_channel4.Init.OutputClock.Selection = DFSDM_CHANNEL_OUTPUT_CLOCK_SYSTEM;
  hdfsdm1_channel4.Init.OutputClock.Divider = 30;
  hdfsdm1_channel4.Init.Input.Multiplexer = DFSDM_CHANNEL_EXTERNAL_INPUTS;
  hdfsdm1_channel4.Init.Input.DataPacking = DFSDM_CHANNEL_STANDARD_MODE;
  hdfsdm1_channel4.Init.Input.Pins = DFSDM_CHANNEL_SAME_CHANNEL_PINS;
  hdfsdm1_channel4.Init.SerialInterface.Type = DFSDM_CHANNEL_SPI_RISING;
  hdfsdm1_channel4.Init.SerialInterface.SpiClock = DFSDM_CHANNEL_SPI_CLOCK_INTERNAL;
  hdfsdm1_channel4.Init.Awd.FilterOrder = DFSDM_CHANNEL_FASTSINC_ORDER;
  hdfsdm1_channel4.Init.Awd.Oversampling = 1;
  hdfsdm1_channel4.Init.Offset = 0;
  hdfsdm1_channel4.Init.RightBitShift = 0x00;
  if (HAL_DFSDM_ChannelInit(&hdfsdm1_channel4) != HAL_OK)
  {
    Error_Handler();
  }
  hdfsdm1_channel6.Instance = DFSDM1_Channel6;
  hdfsdm1_channel6.Init.OutputClock.Activation = ENABLE;
  hdfsdm1_channel6.Init.OutputClock.Selection = DFSDM_CHANNEL_OUTPUT_CLOCK_SYSTEM;
  hdfsdm1_channel6.Init.OutputClock.Divider = 30;
  hdfsdm1_channel6.Init.Input.Multiplexer = DFSDM_CHANNEL_EXTERNAL_INPUTS;
  hdfsdm1_channel6.Init.Input.DataPacking = DFSDM_CHANNEL_STANDARD_MODE;
  hdfsdm1_channel6.Init.Input.Pins = DFSDM_CHANNEL_SAME_CHANNEL_PINS;
  hdfsdm1_channel6.Init.SerialInterface.Type = DFSDM_CHANNEL_SPI_RISING;
  hdfsdm1_channel6.Init.SerialInterface.SpiClock = DFSDM_CHANNEL_SPI_CLOCK_INTERNAL;
  hdfsdm1_channel6.Init.Awd.FilterOrder = DFSDM_CHANNEL_FASTSINC_ORDER;
  hdfsdm1_channel6.Init.Awd.Oversampling = 1;
  hdfsdm1_channel6.Init.Offset = 0;
  hdfsdm1_channel6.Init.RightBitShift = 0x00;
  if (HAL_DFSDM_ChannelInit(&hdfsdm1_channel6) != HAL_OK)
  {
    Error_Handler();
  }
  if (HAL_DFSDM_FilterConfigRegChannel(&hdfsdm1_filter0, DFSDM_CHANNEL_2, DFSDM_CONTINUOUS_CONV_ON) != HAL_OK)
  {
    Error_Handler();
  }
  if (HAL_DFSDM_FilterConfigRegChannel(&hdfsdm1_filter1, DFSDM_CHANNEL_4, DFSDM_CONTINUOUS_CONV_ON) != HAL_OK)
  {
    Error_Handler();
  }
  if (HAL_DFSDM_FilterConfigRegChannel(&hdfsdm1_filter2, DFSDM_CHANNEL_6, DFSDM_CONTINUOUS_CONV_ON) != HAL_OK)
  {
    Error_Handler();
  }

}

static void MX_FDCAN2_Init(void)
{

  hfdcan2.Instance = FDCAN2;
  hfdcan2.Init.FrameFormat = FDCAN_FRAME_FD_BRS;
  hfdcan2.Init.Mode = FDCAN_MODE_NORMAL;
  hfdcan2.Init.AutoRetransmission = DISABLE;
  hfdcan2.Init.TransmitPause = DISABLE;
  hfdcan2.Init.ProtocolException = DISABLE;
  hfdcan2.Init.NominalPrescaler = 30;
  hfdcan2.Init.NominalSyncJumpWidth = 2;
  hfdcan2.Init.NominalTimeSeg1 = 5;
  hfdcan2.Init.NominalTimeSeg2 = 2;
  hfdcan2.Init.DataPrescaler = 15;
  hfdcan2.Init.DataSyncJumpWidth = 1;
  hfdcan2.Init.DataTimeSeg1 = 2;
  hfdcan2.Init.DataTimeSeg2 = 1;
  hfdcan2.Init.MessageRAMOffset = 0;
  hfdcan2.Init.StdFiltersNbr = 1;
  hfdcan2.Init.ExtFiltersNbr = 0;
  hfdcan2.Init.RxFifo0ElmtsNbr = 16;
  hfdcan2.Init.RxFifo0ElmtSize = FDCAN_DATA_BYTES_64;
  hfdcan2.Init.RxFifo1ElmtsNbr = 16;
  hfdcan2.Init.RxFifo1ElmtSize = FDCAN_DATA_BYTES_64;
  hfdcan2.Init.RxBuffersNbr = 0;
  hfdcan2.Init.RxBufferSize = FDCAN_DATA_BYTES_64;
  hfdcan2.Init.TxEventsNbr = 0;
  hfdcan2.Init.TxBuffersNbr = 0;
  hfdcan2.Init.TxFifoQueueElmtsNbr = 16;
  hfdcan2.Init.TxFifoQueueMode = FDCAN_TX_FIFO_OPERATION;
  hfdcan2.Init.TxElmtSize = FDCAN_DATA_BYTES_64;
  if (HAL_FDCAN_Init(&hfdcan2) != HAL_OK)
  {
    Error_Handler();
  }

}

static void MX_SPI2_Init(void)
{

  /* SPI2 parameter configuration*/
  hspi2.Instance = SPI2;
  hspi2.Init.Mode = SPI_MODE_MASTER;
  hspi2.Init.Direction = SPI_DIRECTION_2LINES;
  hspi2.Init.DataSize = SPI_DATASIZE_8BIT;
  hspi2.Init.CLKPolarity = SPI_POLARITY_LOW;
  hspi2.Init.CLKPhase = SPI_PHASE_1EDGE;
  hspi2.Init.NSS = SPI_NSS_SOFT;
  hspi2.Init.BaudRatePrescaler = SPI_BAUDRATEPRESCALER_128;
  hspi2.Init.FirstBit = SPI_FIRSTBIT_MSB;
  hspi2.Init.TIMode = SPI_TIMODE_DISABLE;
  hspi2.Init.CRCCalculation = SPI_CRCCALCULATION_DISABLE;
  hspi2.Init.CRCPolynomial = 0x0;
  hspi2.Init.NSSPMode = SPI_NSS_PULSE_ENABLE;
  hspi2.Init.NSSPolarity = SPI_NSS_POLARITY_LOW;
  hspi2.Init.FifoThreshold = SPI_FIFO_THRESHOLD_01DATA;
  hspi2.Init.TxCRCInitializationPattern = SPI_CRC_INITIALIZATION_ALL_ZERO_PATTERN;
  hspi2.Init.RxCRCInitializationPattern = SPI_CRC_INITIALIZATION_ALL_ZERO_PATTERN;
  hspi2.Init.MasterSSIdleness = SPI_MASTER_SS_IDLENESS_00CYCLE;
  hspi2.Init.MasterInterDataIdleness = SPI_MASTER_INTERDATA_IDLENESS_00CYCLE;
  hspi2.Init.MasterReceiverAutoSusp = SPI_MASTER_RX_AUTOSUSP_DISABLE;
  hspi2.Init.MasterKeepIOState = SPI_MASTER_KEEP_IO_STATE_DISABLE;
  hspi2.Init.IOSwap = SPI_IO_SWAP_DISABLE;
  if (HAL_SPI_Init(&hspi2) != HAL_OK)
  {
    Error_Handler();
  }

}

static void MX_SPI5_Init(void)
{

  /* SPI5 parameter configuration*/
  hspi5.Instance = SPI5;
  hspi5.Init.Mode = SPI_MODE_MASTER;
  hspi5.Init.Direction = SPI_DIRECTION_2LINES;
  hspi5.Init.DataSize = SPI_DATASIZE_8BIT;
  hspi5.Init.CLKPolarity = SPI_POLARITY_LOW;
  hspi5.Init.CLKPhase = SPI_PHASE_1EDGE;
  hspi5.Init.NSS = SPI_NSS_SOFT;
  hspi5.Init.BaudRatePrescaler = SPI_BAUDRATEPRESCALER_256;
  hspi5.Init.FirstBit = SPI_FIRSTBIT_MSB;
  hspi5.Init.TIMode = SPI_TIMODE_DISABLE;
  hspi5.Init.CRCCalculation = SPI_CRCCALCULATION_DISABLE;
  hspi5.Init.CRCPolynomial = 0x0;
  hspi5.Init.NSSPMode = SPI_NSS_PULSE_ENABLE;
  hspi5.Init.NSSPolarity = SPI_NSS_POLARITY_LOW;
  hspi5.Init.FifoThreshold = SPI_FIFO_THRESHOLD_01DATA;
  hspi5.Init.TxCRCInitializationPattern = SPI_CRC_INITIALIZATION_ALL_ZERO_PATTERN;
  hspi5.Init.RxCRCInitializationPattern = SPI_CRC_INITIALIZATION_ALL_ZERO_PATTERN;
  hspi5.Init.MasterSSIdleness = SPI_MASTER_SS_IDLENESS_00CYCLE;
  hspi5.Init.MasterInterDataIdleness = SPI_MASTER_INTERDATA_IDLENESS_00CYCLE;
  hspi5.Init.MasterReceiverAutoSusp = SPI_MASTER_RX_AUTOSUSP_DISABLE;
  hspi5.Init.MasterKeepIOState = SPI_MASTER_KEEP_IO_STATE_DISABLE;
  hspi5.Init.IOSwap = SPI_IO_SWAP_DISABLE;
  if (HAL_SPI_Init(&hspi5) != HAL_OK)
  {
    Error_Handler();
  }

}

static void MX_TIM2_Init(void)
{

  TIM_MasterConfigTypeDef sMasterConfig = {0};
  TIM_IC_InitTypeDef sConfigIC = {0};

  htim2.Instance = TIM2;
  htim2.Init.Prescaler = 0;
  htim2.Init.CounterMode = TIM_COUNTERMODE_UP;
  htim2.Init.Period = 4294967295;
  htim2.Init.ClockDivision = TIM_CLOCKDIVISION_DIV1;
  htim2.Init.AutoReloadPreload = TIM_AUTORELOAD_PRELOAD_DISABLE;
  if (HAL_TIM_IC_Init(&htim2) != HAL_OK)
  {
    Error_Handler();
  }
  sMasterConfig.MasterOutputTrigger = TIM_TRGO_RESET;
  sMasterConfig.MasterSlaveMode = TIM_MASTERSLAVEMODE_DISABLE;
  if (HAL_TIMEx_MasterConfigSynchronization(&htim2, &sMasterConfig) != HAL_OK)
  {
    Error_Handler();
  }
  sConfigIC.ICPolarity = TIM_INPUTCHANNELPOLARITY_RISING;
  sConfigIC.ICSelection = TIM_ICSELECTION_DIRECTTI;
  sConfigIC.ICPrescaler = TIM_ICPSC_DIV1;
  sConfigIC.ICFilter = 0;
  if (HAL_TIM_IC_ConfigChannel(&htim2, &sConfigIC, TIM_CHANNEL_4) != HAL_OK)
  {
    Error_Handler();
  }

}

static void MX_TIM3_Init(void)
{

  TIM_ClockConfigTypeDef sClockSourceConfig = {0};
  TIM_MasterConfigTypeDef sMasterConfig = {0};

  htim3.Instance = TIM3;
  htim3.Init.Prescaler = 65535;
  htim3.Init.CounterMode = TIM_COUNTERMODE_UP;
  htim3.Init.Period = 65535;
  htim3.Init.ClockDivision = TIM_CLOCKDIVISION_DIV4;
  htim3.Init.AutoReloadPreload = TIM_AUTORELOAD_PRELOAD_DISABLE;
  if (HAL_TIM_Base_Init(&htim3) != HAL_OK)
  {
    Error_Handler();
  }
  sClockSourceConfig.ClockSource = TIM_CLOCKSOURCE_INTERNAL;
  if (HAL_TIM_ConfigClockSource(&htim3, &sClockSourceConfig) != HAL_OK)
  {
    Error_Handler();
  }
  sMasterConfig.MasterOutputTrigger = TIM_TRGO_RESET;
  sMasterConfig.MasterSlaveMode = TIM_MASTERSLAVEMODE_DISABLE;
  if (HAL_TIMEx_MasterConfigSynchronization(&htim3, &sMasterConfig) != HAL_OK)
  {
    Error_Handler();
  }

}

static void MX_UART4_Init(void)
{

  huart4.Instance = UART4;
  huart4.Init.BaudRate = 115200;
  huart4.Init.WordLength = UART_WORDLENGTH_8B;
  huart4.Init.StopBits = UART_STOPBITS_1;
  huart4.Init.Parity = UART_PARITY_NONE;
  huart4.Init.Mode = UART_MODE_TX_RX;
  huart4.Init.HwFlowCtl = UART_HWCONTROL_NONE;
  huart4.Init.OverSampling = UART_OVERSAMPLING_16;
  huart4.Init.OneBitSampling = UART_ONE_BIT_SAMPLE_DISABLE;
  huart4.Init.ClockPrescaler = UART_PRESCALER_DIV1;
  huart4.AdvancedInit.AdvFeatureInit = UART_ADVFEATURE_NO_INIT;
  if (HAL_HalfDuplex_Init(&huart4) != HAL_OK)
  {
    Error_Handler();
  }
  if (HAL_UARTEx_SetTxFifoThreshold(&huart4, UART_TXFIFO_THRESHOLD_1_8) != HAL_OK)
  {
    Error_Handler();
  }
  if (HAL_UARTEx_SetRxFifoThreshold(&huart4, UART_RXFIFO_THRESHOLD_1_8) != HAL_OK)
  {
    Error_Handler();
  }
  if (HAL_UARTEx_DisableFifoMode(&huart4) != HAL_OK)
  {
    Error_Handler();
  }

}

static void MX_BDMA_Init(void)
{

  /* DMA controller clock enable */
  __HAL_RCC_BDMA_CLK_ENABLE();

  /* DMA interrupt init */
  /* BDMA_Channel0_IRQn interrupt configuration */
  HAL_NVIC_SetPriority(BDMA_Channel0_IRQn, 5, 0);
  HAL_NVIC_EnableIRQ(BDMA_Channel0_IRQn);

}

static void MX_DMA_Init(void)
{

  /* DMA controller clock enable */
  __HAL_RCC_DMA1_CLK_ENABLE();

  /* DMA interrupt init */
  /* DMA1_Stream0_IRQn interrupt configuration */
  HAL_NVIC_SetPriority(DMA1_Stream0_IRQn, 5, 0);
  HAL_NVIC_EnableIRQ(DMA1_Stream0_IRQn);
  /* DMA1_Stream1_IRQn interrupt configuration */
  HAL_NVIC_SetPriority(DMA1_Stream1_IRQn, 5, 0);
  HAL_NVIC_EnableIRQ(DMA1_Stream1_IRQn);
  /* DMA1_Stream2_IRQn interrupt configuration */
  HAL_NVIC_SetPriority(DMA1_Stream2_IRQn, 5, 0);
  HAL_NVIC_EnableIRQ(DMA1_Stream2_IRQn);
  /* DMA1_Stream3_IRQn interrupt configuration */
  HAL_NVIC_SetPriority(DMA1_Stream3_IRQn, 5, 0);
  HAL_NVIC_EnableIRQ(DMA1_Stream3_IRQn);

}

static void MX_GPIO_Init(void)
{
  GPIO_InitTypeDef GPIO_InitStruct = {0};

  /* GPIO Ports Clock Enable */
  __HAL_RCC_GPIOB_CLK_ENABLE();
  __HAL_RCC_GPIOI_CLK_ENABLE();
  __HAL_RCC_GPIOA_CLK_ENABLE();
  __HAL_RCC_GPIOC_CLK_ENABLE();
  __HAL_RCC_GPIOE_CLK_ENABLE();
  __HAL_RCC_GPIOH_CLK_ENABLE();
  __HAL_RCC_GPIOF_CLK_ENABLE();
  __HAL_RCC_GPIOK_CLK_ENABLE();
  __HAL_RCC_GPIOJ_CLK_ENABLE();
  __HAL_RCC_GPIOD_CLK_ENABLE();
  __HAL_RCC_GPIOG_CLK_ENABLE();

  /*Configure GPIO pin Output Level */
  HAL_GPIO_WritePin(GPIOI, GPIO_PIN_0, GPIO_PIN_SET);

  /*Configure GPIO pin Output Level */
  HAL_GPIO_WritePin(GPIOE, GPIO_PIN_3, GPIO_PIN_RESET);

  /*Configure GPIO pin Output Level */
  HAL_GPIO_WritePin(GPIOB, GPIO_PIN_9|GPIO_PIN_8|GPIO_PIN_0, GPIO_PIN_RESET);

  /*Configure GPIO pin Output Level */
  HAL_GPIO_WritePin(GPIOH, GPIO_PIN_3|GPIO_PIN_4, GPIO_PIN_RESET);

  /*Configure GPIO pin Output Level */
  HAL_GPIO_WritePin(GPIOD, GPIO_PIN_11|GPIO_PIN_12|GPIO_PIN_9, GPIO_PIN_RESET);

  /*Configure GPIO pin Output Level */
  HAL_GPIO_WritePin(GPIOA, GPIO_PIN_5, GPIO_PIN_RESET);

  /*Configure GPIO pin Output Level */
  HAL_GPIO_WritePin(GPIOJ, GPIO_PIN_3, GPIO_PIN_RESET);

  /*Configure GPIO pin : PI0 */
  GPIO_InitStruct.Pin = GPIO_PIN_0;
  GPIO_InitStruct.Mode = GPIO_MODE_OUTPUT_OD;
  GPIO_InitStruct.Pull = GPIO_NOPULL;
  GPIO_InitStruct.Speed = GPIO_SPEED_FREQ_LOW;
  HAL_GPIO_Init(GPIOI, &GPIO_InitStruct);

  /*Configure GPIO pin : PE3 */
  GPIO_InitStruct.Pin = GPIO_PIN_3;
  GPIO_InitStruct.Mode = GPIO_MODE_OUTPUT_PP;
  GPIO_InitStruct.Pull = GPIO_NOPULL;
  GPIO_InitStruct.Speed = GPIO_SPEED_FREQ_LOW;
  HAL_GPIO_Init(GPIOE, &GPIO_InitStruct);

  /*Configure GPIO pins : PB9 PB8 PB0 */
  GPIO_InitStruct.Pin = GPIO_PIN_9|GPIO_PIN_8|GPIO_PIN_0;
  GPIO_InitStruct.Mode = GPIO_MODE_OUTPUT_PP;
  GPIO_InitStruct.Pull = GPIO_NOPULL;
  GPIO_InitStruct.Speed = GPIO_SPEED_FREQ_LOW;
  HAL_GPIO_Init(GPIOB, &GPIO_InitStruct);

  /*Configure GPIO pins : PH3 PH4 */
  GPIO_InitStruct.Pin = GPIO_PIN_3|GPIO_PIN_4;
  GPIO_InitStruct.Mode = GPIO_MODE_OUTPUT_PP;
  GPIO_InitStruct.Pull = GPIO_NOPULL;
  GPIO_InitStruct.Speed = GPIO_SPEED_FREQ_LOW;
  HAL_GPIO_Init(GPIOH, &GPIO_InitStruct);

  /*Configure GPIO pin : PF14 */
  GPIO_InitStruct.Pin = GPIO_PIN_14;
  GPIO_InitStruct.Mode = GPIO_MODE_INPUT;
  GPIO_InitStruct.Pull = GPIO_NOPULL;
  HAL_GPIO_Init(GPIOF, &GPIO_InitStruct);

  /*Configure GPIO pins : PD14 PD13 PD10 PD8 */
  GPIO_InitStruct.Pin = GPIO_PIN_14|GPIO_PIN_13|GPIO_PIN_10|GPIO_PIN_8;
  GPIO_InitStruct.Mode = GPIO_MODE_INPUT;
  GPIO_InitStruct.Pull = GPIO_NOPULL;
  HAL_GPIO_Init(GPIOD, &GPIO_InitStruct);

  /*Configure GPIO pin : PA6 */
  GPIO_InitStruct.Pin = GPIO_PIN_6;
  GPIO_InitStruct.Mode = GPIO_MODE_ANALOG;
  GPIO_InitStruct.Pull = GPIO_NOPULL;
  HAL_GPIO_Init(GPIOA, &GPIO_InitStruct);

  /*Configure GPIO pins : PD11 PD12 PD9 */
  GPIO_InitStruct.Pin = GPIO_PIN_11|GPIO_PIN_12|GPIO_PIN_9;
  GPIO_InitStruct.Mode = GPIO_MODE_OUTPUT_PP;
  GPIO_InitStruct.Pull = GPIO_NOPULL;
  GPIO_InitStruct.Speed = GPIO_SPEED_FREQ_LOW;
  HAL_GPIO_Init(GPIOD, &GPIO_InitStruct);

  /*Configure GPIO pin : PA5 */
  GPIO_InitStruct.Pin = GPIO_PIN_5;
  GPIO_InitStruct.Mode = GPIO_MODE_OUTPUT_PP;
  GPIO_InitStruct.Pull = GPIO_NOPULL;
  GPIO_InitStruct.Speed = GPIO_SPEED_FREQ_LOW;
  HAL_GPIO_Init(GPIOA, &GPIO_InitStruct);

  /*Configure GPIO pin : PB1 */
  GPIO_InitStruct.Pin = GPIO_PIN_1;
  GPIO_InitStruct.Mode = GPIO_MODE_ANALOG;
  GPIO_InitStruct.Pull = GPIO_NOPULL;
  HAL_GPIO_Init(GPIOB, &GPIO_InitStruct);

  /*Configure GPIO pin : PJ2 */
  GPIO_InitStruct.Pin = GPIO_PIN_2;
  GPIO_InitStruct.Mode = GPIO_MODE_INPUT;
  GPIO_InitStruct.Pull = GPIO_NOPULL;
  HAL_GPIO_Init(GPIOJ, &GPIO_InitStruct);

  /*Configure GPIO pins : PG0 PG1 */
  GPIO_InitStruct.Pin = GPIO_PIN_0|GPIO_PIN_1;
  GPIO_InitStruct.Mode = GPIO_MODE_INPUT;
  GPIO_InitStruct.Pull = GPIO_NOPULL;
  HAL_GPIO_Init(GPIOG, &GPIO_InitStruct);

  /*Configure GPIO pin : PJ3 */
  GPIO_InitStruct.Pin = GPIO_PIN_3;
  GPIO_InitStruct.Mode = GPIO_MODE_OUTPUT_PP;
  GPIO_InitStruct.Pull = GPIO_NOPULL;
  GPIO_InitStruct.Speed = GPIO_SPEED_FREQ_LOW;
  HAL_GPIO_Init(GPIOJ, &GPIO_InitStruct);

}

/* USER CODE BEGIN 4 */
void HAL_ADC_ConvCpltCallback(ADC_HandleTypeDef *hadc)
{
  //adc conversion complete callback
}
/* USER CODE END 4 */

void startTaskManager(void *argument)
{
  /* USER CODE BEGIN 5 */
  task_manager_init();
  /* Infinite loop */
  for(;;)
  {
    task_manager_loop();
  }
  /* USER CODE END 5 */
}

void StartFastTask(void *argument)
{
  /* USER CODE BEGIN StartFastTask */
  task_fast_init();
  /* Infinite loop */
  for(;;)
  {
    task_fast_loop();
  }
  /* USER CODE END StartFastTask */
}

void StartMediumTask(void *argument)
{
  /* USER CODE BEGIN StartMediumTask */
  task_medium_init();
  /* Infinite loop */
  for(;;)
  {
    task_medium_loop();
  }
  /* USER CODE END StartMediumTask */
}

void StartSlowTask(void *argument)
{
  /* USER CODE BEGIN StartSlowTask */
  task_slow_init();
  /* Infinite loop */
  for(;;)
  {
    task_slow_loop();
  }
  /* USER CODE END StartSlowTask */
}

void StartCanTask(void *argument)
{
  /* USER CODE BEGIN StartCanTask */
  task_can_tx_init();
  /* Infinite loop */
  for(;;)
  {
	task_can_tx_loop();
  }
  /* USER CODE END StartCanTask */
}

void StartCanRx(void *argument)
{
  /* USER CODE BEGIN StartCanRx */
  task_can_rx_init();
  /* Infinite loop */
  for(;;)
  {
	task_can_rx_loop();
  }
  /* USER CODE END StartCanRx */
}

 /* MPU Configuration */

void MPU_Config(void)
{
  MPU_Region_InitTypeDef MPU_InitStruct = {0};

  /* Disables the MPU */
  HAL_MPU_Disable();

  /** Initializes and configures the Region and the memory to be protected
  */
  MPU_InitStruct.Enable = MPU_REGION_ENABLE;
  MPU_InitStruct.Number = MPU_REGION_NUMBER0;
  MPU_InitStruct.BaseAddress = 0x0;
  MPU_InitStruct.Size = MPU_REGION_SIZE_4GB;
  MPU_InitStruct.SubRegionDisable = 0x87;
  MPU_InitStruct.TypeExtField = MPU_TEX_LEVEL0;
  MPU_InitStruct.AccessPermission = MPU_REGION_NO_ACCESS;
  MPU_InitStruct.DisableExec = MPU_INSTRUCTION_ACCESS_DISABLE;
  MPU_InitStruct.IsShareable = MPU_ACCESS_SHAREABLE;
  MPU_InitStruct.IsCacheable = MPU_ACCESS_NOT_CACHEABLE;
  MPU_InitStruct.IsBufferable = MPU_ACCESS_NOT_BUFFERABLE;

  HAL_MPU_ConfigRegion(&MPU_InitStruct);
  /* Enables the MPU */
  HAL_MPU_Enable(MPU_PRIVILEGED_DEFAULT);

}

void HAL_TIM_PeriodElapsedCallback(TIM_HandleTypeDef *htim)
{
  if (htim->Instance == TIM1)
  {
    HAL_IncTick();
  }
  /* USER CODE BEGIN Callback 1 */
  if (htim->Instance == TIM3)
    {
	  // precharge_time = 1; // TODO: check if we need this? not using timer
    }
  /* USER CODE END Callback 1 */
}

void Error_Handler(void)
{
  __disable_irq();
  while (1)
  {
  }
}
